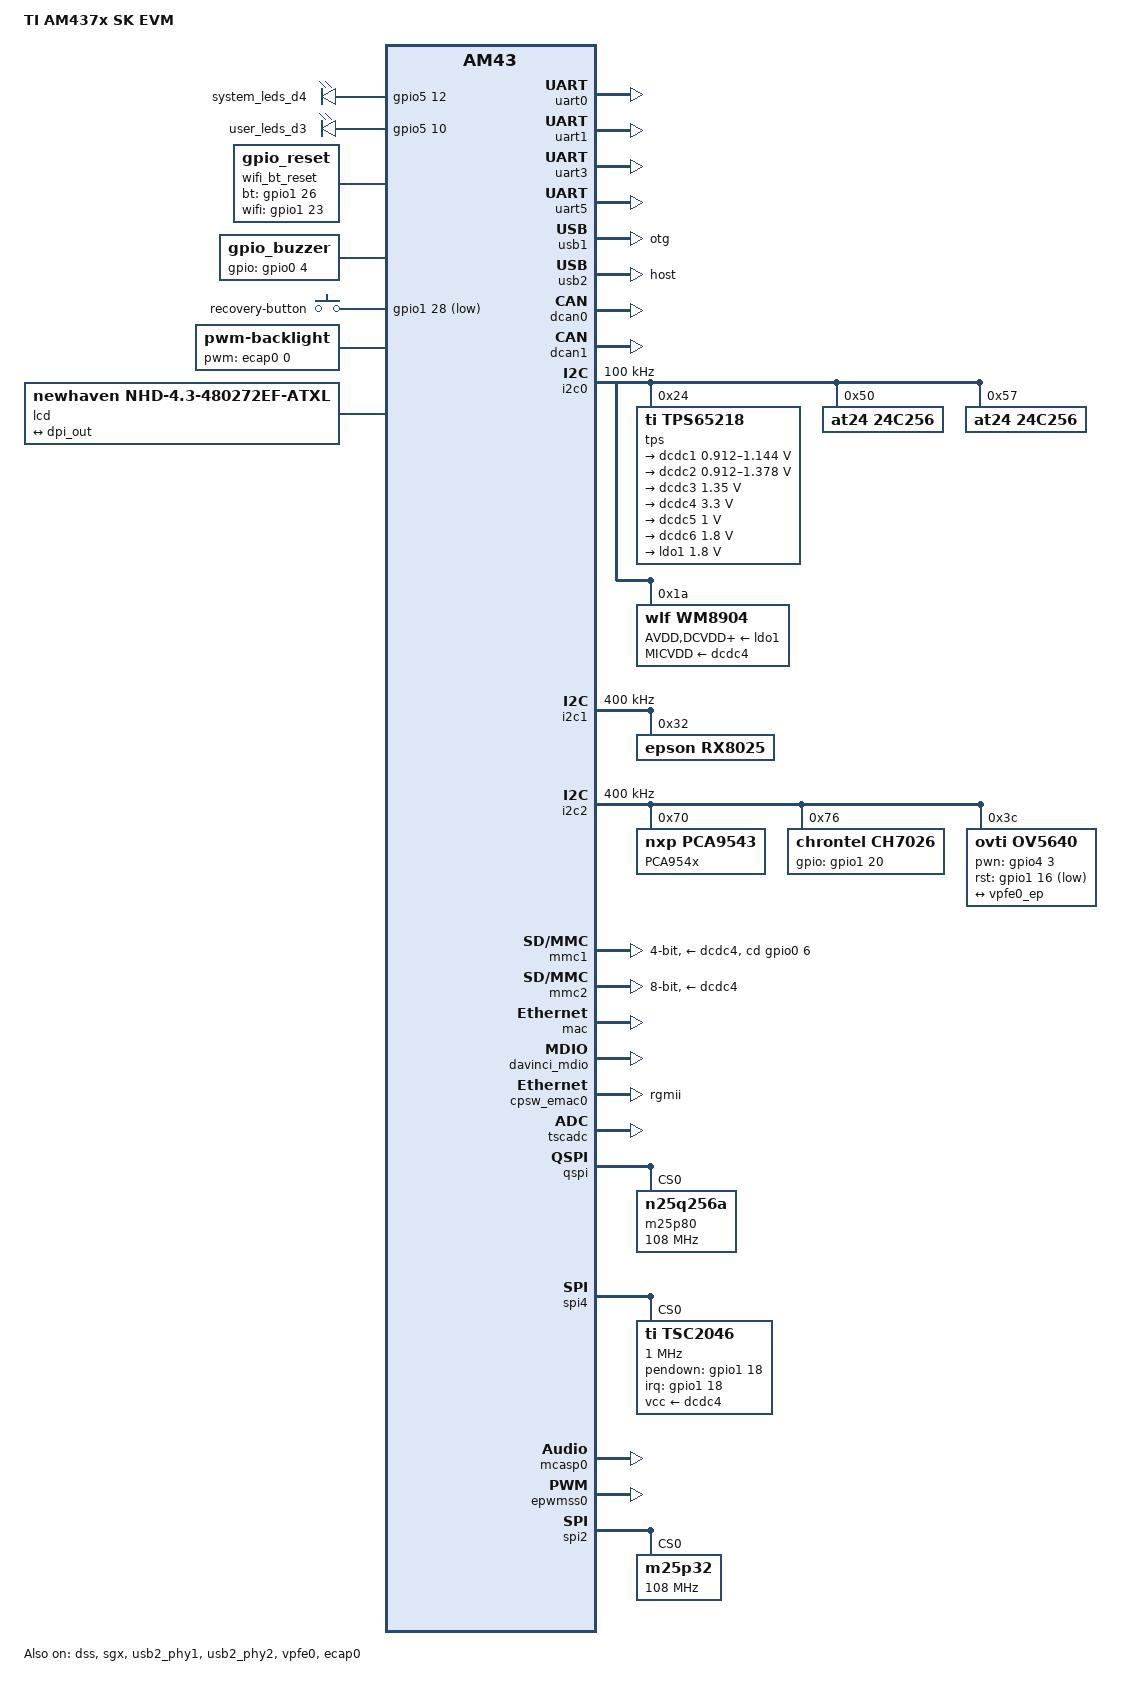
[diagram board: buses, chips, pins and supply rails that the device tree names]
/*
 * Copyright (C) 2015 Embest Technology Co., Ltd., - http://www.embest-tech.com
 *
 * This program is free software; you can redistribute it and/or modify
 * it under the terms of the GNU General Public License version 2 as
 * published by the Free Software Foundation.
 *
 * This dts is for embest own product:
 * SOM-PH8800 + BB-EPH1800
 */
/dts-v1/;

#include "am4372.dtsi"
#include <dt-bindings/pinctrl/am43xx.h>
#include <dt-bindings/pwm/pwm.h>
#include <dt-bindings/gpio/gpio.h>
#include <dt-bindings/input/input.h>

/ {
	model = "TI AM437x SK EVM";
	compatible = "ti,am437x-sk-evm","ti,am4372","ti,am43";

	aliases {
		display0 = &lcd0;
		serial1 = &uart1;
		serial3 = &uart3;
		serial5 = &uart5;
	};

	leds {
		pinctrl-names = "default";
		pinctrl-0 = <&user_leds>;

		compatible = "gpio-leds";

		led1 {
			label = "system_leds_d4";
			gpios = <&gpio5 12 GPIO_ACTIVE_HIGH>;
			linux,default-trigger = "none";
			default-state = "on";
		};

		led2 {
			label = "user_leds_d3";
			gpios = <&gpio5 10 GPIO_ACTIVE_HIGH>;
			linux,default-trigger = "none";
			default-state = "on";
		};
	};

	wifi_bt_reset{
		pinctrl-names = "default";
		pinctrl-0 = <&wifi_reset_pins>;
        
		compatible = "gpio_reset";
		bt-gpios = <&gpio1 26 GPIO_ACTIVE_HIGH>;
		wifi-gpios = <&gpio1 23 GPIO_ACTIVE_HIGH>;
	};

	/* Generic GPIO buzzer device  as misc device */
	buzzer {
		pinctrl-names = "default";
		pinctrl-0 = <&buzzer_pin>;
		compatible = "gpio_buzzer";
		gpios = <&gpio0 4 GPIO_ACTIVE_HIGH>;
	};

	gpio_keys: gpio_keys {
		compatible = "gpio-keys";
		pinctrl-names = "default";
		pinctrl-0 = <&gpio_keys_pins_default>;
		#address-cells = <1>;
		#size-cells = <0>;

		switch@0 {
			label = "recovery-button";
			linux,code = <KEY_POWER>;
			gpios = <&gpio1 28 GPIO_ACTIVE_LOW>;
		};
	};
	
	sound {
		compatible = "simple-audio-card";
		simple-audio-card,name = "AM437x-SM8800";
		simple-audio-card,widgets =
			"Headphone", "Headphone Jack",
			"Microphone", "Microphone Jack";
		simple-audio-card,routing =
			"Headphone Jack",	"HPOUTL",
			"Headphone Jack",	"HPOUTR",
			"Microphone Jack",  "MICBIAS", 
			"IN1L", "Microphone Jack";
		simple-audio-card,format = "dsp_b";
		simple-audio-card,bitclock-master = <&sound_master>;
		simple-audio-card,frame-master = <&sound_master>;
		/*simple-audio-card,bitclock-inversion;*/

		simple-audio-card,cpu {
			sound-dai = <&mcasp0>;
			system-clock-frequency = <24000000>;
			system-clock-direction = "out";
		};

		sound_master: simple-audio-card,codec {
			sound-dai = <&wm8904>;
			system-clock-frequency = <24000000>;
			system-clock-direction = "in";
		};
	};
	
	backlight {
		compatible = "pwm-backlight";

		pwms = <&ecap0 0 50000 PWM_POLARITY_INVERTED>;
		brightness-levels = <0 51 53 56 62 75 101 152 255>;
		default-brightness-level = <6>;
	};
	lcd0: display {
		compatible = "newhaven,nhd-4.3-480272ef-atxl", "panel-dpi";
		label = "lcd";

		/* If there is a enable pin in LCD sch. you need to add this!
		*pinctrl-names = "default";
		*pinctrl-0 = <&lcd_pins>;
		*
		*enable-gpios = <&gpio1 7 GPIO_ACTIVE_HIGH>; */

		panel-timing {
			/*This is the timing for HDMI&VGA*/
			/*clock-frequency = <80000000>;
			hactive = <1024>;
			vactive = <768>;
			hfront-porch = <18>;
			hback-porch = <297>;
			hsync-len = <53>;
			vfront-porch = <3>;
			vback-porch = <35>;
			vsync-len = <6>;
			hsync-active = <0>;
			vsync-active = <0>;
			de-active = <1>;
			pixelclk-active = <1>;*/

			/*This is the timing for 4.3inch_LCD && VGA ch7026 (input 480*272,output 800*600)*/
			/*clock-frequency = <9000000>;
			hactive = <480>;
			vactive = <272>;
			hfront-porch = <2>;
			hback-porch = <43>;
			hsync-len = <41>;
			vfront-porch = <2>;
			vback-porch = <12>;
			vsync-len = <10>;
			hsync-active = <0>;
			vsync-active = <0>;
			de-active = <1>;
			pixelclk-active = <1>;*/

			/*This is the timing for 7inch_LCD*/
			/*clock-frequency = <9000000>;
			hactive = <320>;
			vactive = <240>;
			hfront-porch = <64>;
			hback-porch = <10>;
			hsync-len = <16>;
			vfront-porch = <32>;
			vback-porch = <10>;
			vsync-len = <3>;
			hsync-active = <0>;
			vsync-active = <0>;
			de-active = <1>;
			pixelclk-active = <1>;*/

			/*This is the timing for VGA ch7026 (input 640*480,output 800*600)*/
			clock-frequency = <48000000>;
			hactive = <640>;
			vactive = <480>;
			hfront-porch = <20>;
			hback-porch = <80>;
			hsync-len = <41>;
			vfront-porch = <20>;
			vback-porch = <35>;
			vsync-len = <10>;
			hsync-active = <0>;
			vsync-active = <0>;
			de-active = <1>;
			pixelclk-active = <1>;

		};

		port {
			lcd_in: endpoint {
				remote-endpoint = <&dpi_out>;
			};
		};
	};	
};

&cpu {
	cpu0-supply = <&dcdc2>;
};
/* This is needed for LCD*/
&dss {
	status = "okay";

	pinctrl-names = "default";
	pinctrl-0 = <&dss_pins>;

	port {
		dpi_out: endpoint@0 {
			remote-endpoint = <&lcd_in>;
			data-lines = <24>;
		};
	};
};

/* This is needed for LCD*/
&sgx {
	status = "okay";
};
&uart0 {
	status = "okay";
	pinctrl-names = "default";
	pinctrl-0 = <&uart0_pins>;
};

&uart1 {
	status = "okay";
	pinctrl-names = "default";
	pinctrl-0 = <&uart1_pins>;
};

&uart3 {
	pinctrl-names = "default";
	pinctrl-0 = <&uart3_pins>;
	status = "okay";

	rs485-rts-active-high;
	linux,rs485-enabled-at-boot-time;
	rs485-rts-delay = <200 0>;                // in milliseconds
	rts-gpio = <&gpio5 1 GPIO_ACTIVE_HIGH>;
};

&uart5 {
	pinctrl-names = "default";
	pinctrl-0 = <&uart5_pins>;
	status = "okay";
};

&usb2_phy1 {
	status = "okay";
};

&usb1 {
	dr_mode = "otg";
	status = "okay";
	pinctrl-names = "default";
	pinctrl-0 = <&usb1_pins>;
};

&usb2_phy2 {
	status = "okay";
};

&usb2 {
	dr_mode = "host";
	status = "okay";
	pinctrl-names = "default";
	pinctrl-0 = <&usb2_pins>;
};

&dcan0 {
	pinctrl-names = "default";
	pinctrl-0 = <&can0_pins>;
	status = "okay";
};

&dcan1 {
	pinctrl-names = "default";
	pinctrl-0 = <&can1_pins>;
	status = "okay";
};

&i2c0 {
	status = "okay";
	pinctrl-names = "default";
	pinctrl-0 = <&i2c0_pins>;
	clock-frequency = <100000>;

	tps@24 {
		compatible = "ti,tps65218";
		reg = <0x24>;
		interrupts = <GIC_SPI 7 IRQ_TYPE_LEVEL_HIGH>;
		interrupt-controller;
		#interrupt-cells = <2>;

		dcdc1: regulator-dcdc1 {
			compatible = "ti,tps65218-dcdc1";
			/* VDD_CORE limits min of OPP50 and max of OPP100 */
			regulator-name = "vdd_core";
			regulator-min-microvolt = <912000>;
			regulator-max-microvolt = <1144000>;
			regulator-boot-on;
			regulator-always-on;
		};

		dcdc2: regulator-dcdc2 {
			compatible = "ti,tps65218-dcdc2";
			/* VDD_MPU limits min of OPP50 and max of OPP_NITRO */
			regulator-name = "vdd_mpu";
			regulator-min-microvolt = <912000>;
			regulator-max-microvolt = <1378000>;
			regulator-boot-on;
			regulator-always-on;
		};

		dcdc3: regulator-dcdc3 {
			compatible = "ti,tps65218-dcdc3";
			regulator-name = "vdds_ddr";
			regulator-min-microvolt = <1350000>;
			regulator-max-microvolt = <1350000>;
			regulator-boot-on;
			regulator-always-on;
			regulator-state-mem {
				regulator-on-in-suspend;
			};
			regulator-state-disk {
				regulator-off-in-suspend;
			};
		};

		dcdc4: regulator-dcdc4 {
			compatible = "ti,tps65218-dcdc4";
			regulator-name = "v3_3d";
			regulator-min-microvolt = <3300000>;
			regulator-max-microvolt = <3300000>;
			regulator-boot-on;
			regulator-always-on;
		};

		dcdc5: regulator-dcdc5 {
			compatible = "ti,tps65218-dcdc5";
			regulator-name = "v1_0bat";
			regulator-min-microvolt = <1000000>;
			regulator-max-microvolt = <1000000>;
			regulator-boot-on;
			regulator-always-on;
			regulator-state-mem {
				regulator-on-in-suspend;
			};
		};

		dcdc6: regulator-dcdc6 {
			compatible = "ti,tps65218-dcdc6";
			regulator-name = "v1_8bat";
			regulator-min-microvolt = <1800000>;
			regulator-max-microvolt = <1800000>;
			regulator-boot-on;
			regulator-always-on;
			regulator-state-mem {
				regulator-on-in-suspend;
			};
		};

		ldo1: regulator-ldo1 {
			compatible = "ti,tps65218-ldo1";
			regulator-name = "v1_8d";
			regulator-min-microvolt = <1800000>;
			regulator-max-microvolt = <1800000>;
			regulator-boot-on;
			regulator-always-on;
		};

		power-button {
			compatible = "ti,tps65218-pwrbutton";
			status = "okay";
			interrupts = <3 IRQ_TYPE_EDGE_BOTH>;
		};
	};

	at24@50 {
		compatible = "at24,24c256";
		pagesize = <64>;
		reg = <0x50>;
	};

	at24@57 {
		compatible = "at24,24c256";
		pagesize = <64>;
		reg = <0x57>;
	};

	wm8904: wm8904@1a {
		#sound-dai-cells = <0>;
		compatible = "wlf,wm8904";
		reg = <0x1a>;
		status = "okay";

		/* Regulators */
		AVDD-supply = <&ldo1>;
		DCVDD-supply = <&ldo1>;
		DBVDD-supply = <&ldo1>;
		CPVDD-supply = <&ldo1>;
		MICVDD-supply = <&dcdc4>;
	};
};

&i2c1 {
	status = "okay";
	pinctrl-names = "default";
	pinctrl-0 = <&i2c1_pins>;
	clock-frequency = <400000>;

	rx8025: rx8025@32 {
		compatible = "epson,rx8025";
		reg = <0x32>;
		status = "okay";
	};


};

&i2c2 {
	status = "okay";
	pinctrl-names = "default";
	pinctrl-0 = <&i2c2_pins>;
	clock-frequency = <400000>;

	PCA954x: PCA954x@70{
		compatible = "nxp,pca9543";
		#address-cells = <1>;
		#size-cells = <0>;
		
		reg = <0x70>;
		status = "okay";		

	};

	ch7026@76 {
		compatible = "chrontel,ch7026";
		pinctrl-names = "default";
		pinctrl-0 = <&ch7620_reset_pin>;		
		gpios = <&gpio1 20 GPIO_ACTIVE_HIGH>;
		reg = <0x76>;
		status = "okay";
	};

	ov5640@3c {
		compatible = "ovti,ov5640";
		reg = <0x3c>;
		pinctrl-names = "default";
		pinctrl-0 = <&clkout2_pin>;

		clocks = <&clkout2_ck>;
		clock-names = "mclk";
		assigned-clocks = <&clkout2_mux_ck>, <&clkout2_post_div_ck>;
		assigned-clock-parents = <&sysclk_div>;
		assigned-clock-rates = <0>, <12500000>;

		pwn = <&gpio4 3 GPIO_ACTIVE_HIGH>;
		/*rst = <&gpio1 22 GPIO_ACTIVE_LOW>;*/
		/*rst = <&gpio0 19 GPIO_ACTIVE_LOW>;*/
		rst = <&gpio1 16 GPIO_ACTIVE_LOW>;
		port {
			ov5640_1: endpoint {
				remote-endpoint = <&vpfe0_ep>;
				link-frequencies = /bits/ 64 <70000000>;
			};
		};
	};	

};
&vpfe0 {
	status = "okay";
	pinctrl-names = "default", "sleep";
	pinctrl-0 = <&vpfe0_pins_default>;
	pinctrl-1 = <&vpfe0_pins_sleep>;

	port {
		vpfe0_ep: endpoint {
			remote-endpoint = <&ov5640_1>;
			ti,am437x-vpfe-interface = <0>;
			bus-width = <8>;
			hsync-active = <0>;
			vsync-active = <0>;
		};
	};	
};

&mmc1 {
	status = "okay";
	pinctrl-names = "default", "sleep";
	pinctrl-0 = <&mmc1_pins>;
	pinctrl-1 = <&mmc1_pins_sleep>;

	vmmc-supply = <&dcdc4>;
	bus-width = <4>;
	cd-gpios = <&gpio0 6 GPIO_ACTIVE_HIGH>;
};

/* eMMC sits on mmc2 */
&mmc2
{
	/*
	* When enabling eMMC, disable GPMC/NAND and set
	* SelEMMCorNAND to output-high
	*/
	status = "okay";
	vmmc-supply = <&dcdc4>;
	bus-width = <8>;
	pinctrl-names = "default", "sleep";
	pinctrl-0 = <&emmc_pins_default>;
	pinctrl-1 = <&emmc_pins_sleep>;
	ti,non-removable;
};

&gpio0 {
	status = "okay";
};
	
&gpio1 {
	status = "okay";
};
&gpio2 {
	status = "okay";
};

&gpio3 {
	status = "okay";
};
&gpio4 {
	status = "okay";
};

/* This is needed for LED according to LED pins */
&gpio5 {
	status = "okay";
};

&rtc {
	status = "disabled";
	ext-clk-src;
};

&mac {
	pinctrl-names = "default", "sleep";
	pinctrl-0 = <&cpsw_default>;
	dual_emac = <1>;
	status = "okay";
};

&davinci_mdio {
	pinctrl-names = "default", "sleep";
	pinctrl-0 = <&davinci_mdio_default>;
	status = "okay";
};

&cpsw_emac0 {
	phy_id = <&davinci_mdio>, <7>;
	phy-mode = "rgmii";
	dual_emac_res_vlan = <1>;
};

&tscadc {
	status = "okay";

	adc {
		ti,adc-channels = <0 1 2 3 4 5 6 7>;
		ti,chan-step-opendelay = <0x98 0x98 0x98 0x98 0x098 0x98 0x098 0x0>;
		ti,chan-step-sampledelay = <0x0f 0x0f 0x0f 0x0f 0x0f 0x0 0xf 0x0>;
		ti,chan-step-avg = <8 8 8 8 8 2 4 8>;
	};
};

&qspi {
	pinctrl-names = "default";
	pinctrl-0 = <&qspi_pins>;
	spi-max-frequency = <108000000>;
	status = "okay";

	m25p80@0 {
		compatible = "n25q256a";
		spi-max-frequency = <108000000>;
		reg = <0>;
		spi-cpol;
		spi-cpha;
		spi-tx-bus-width = <1>;
		spi-rx-bus-width = <1>;
		#address-cells = <1>;
		#size-cells = <1>;
	};
};

&spi4 {
	pinctrl-names = "default";
	pinctrl-0 = <&spi4_pins>;
	ti,pindir-d0-out-d1-in = <1>;
	status = "okay";

	tsc2046: tsc2046@0 {
		pinctrl-names = "default";
		pinctrl-0 = <&tsc2046_irq_pins>;	
		spi-max-frequency = <1000000>;
		reg = <0>; 
		compatible = "ti,tsc2046";
		interrupt-parent = <&gpio1>;
		interrupts = <18 0>;
		pendown-gpio = <&gpio1 18 0>;
		
		ti,x-min = /bits/ 16 <0>;
		ti,x-max = /bits/ 16 <8000>;
		ti,y-min = /bits/ 16 <0>;
		ti,y-max = /bits/ 16 <4800>;
		ti,x-plate-ohms = /bits/ 16 <40>;
		ti,pressure-max = /bits/ 16 <255>;
		
		vcc-supply = <&dcdc4>;
	};
};

&mcasp0 {
	#sound-dai-cells = <0>;
	pinctrl-names = "default";
	pinctrl-0 = <&mcasp0_pins>;
	status = "okay";
	op-mode = <0>;
	tdm-slots = <2>;
    
	serial-dir = <
		1 0  2 0
	>;

	tx-num-evt = <1>;
	rx-num-evt = <1>;
};

/* This is needed for backlight */
&epwmss0 {
	status = "okay";
};

/* This is needed for backlight */
&ecap0 {
	status = "okay";
	pinctrl-names = "default";
	pinctrl-0 = <&ecap0_pins>;
};

&spi2 {
	pinctrl-names = "default";
	pinctrl-0 = <&spi2_pins>;
	ti,pindir-d0-out-d1-in = <1>;
	status = "okay";

	m25p32@0 {
		compatible = "m25p32";
		spi-max-frequency = <108000000>;
		reg = <0>;
		spi-cpol;
		spi-cpha;
		spi-tx-bus-width = <1>;
		spi-rx-bus-width = <1>;
		#address-cells = <1>;
		#size-cells = <1>;
	};
};

&am43xx_pinmux {
	/* UART0 pins: rxd & txd */
	uart0_pins: pinmux_uart0_pins {
		pinctrl-single,pins = <
			0x170 (PIN_INPUT_PULLUP | MUX_MODE0)	/* uart0_rxd.uart0_rxd */
			0x174 (PIN_OUTPUT_PULLDOWN | MUX_MODE0)	/* uart0_txd.uart0_txd */
		>;
	};
	
	/* UART1 pins: rxd & txd */
	uart1_pins: pinmux_uart1_pins {
		pinctrl-single,pins = <
			0x180 (PIN_INPUT_PULLUP | MUX_MODE0)	/* uart1_rxd.uart1_rxd */
			0x184 (PIN_OUTPUT_PULLDOWN | MUX_MODE0)	/* uart1_txd.uart1_txd */
		>;
	};

	/* UART3 pins: rxd & txd */
	uart3_pins: pinmux_uart3_pins {
		pinctrl-single,pins = <
			0x228 (PIN_INPUT_PULLUP | MUX_MODE0)	/* uart3_rxd.uart3_rxd */
			0x22c (PIN_OUTPUT_PULLDOWN | MUX_MODE0)	/* uart3_txd.uart3_txd */
			0x234 (PIN_OUTPUT_PULLDOWN | MUX_MODE7)	/* uart3_rts.gpio5_1   */
		>;
	};

	/* UART5 pins: rxd & txd */
	uart5_pins: pinmux_uart5_pins {
		pinctrl-single,pins = <
			0x108 (PIN_INPUT_PULLUP | MUX_MODE3)	/* mii1_col.uart5_rxd */
			0x144 (PIN_OUTPUT_PULLDOWN | MUX_MODE3)	/* rmii1_refclk.uart5_txd */
			0x10c (PIN_OUTPUT_PULLDOWN | MUX_MODE5)	/* ctsn */
			0x110 (PIN_OUTPUT_PULLDOWN | MUX_MODE5) /* rtsn */
		>;
	};

	usb1_pins: usb1_pins {
		pinctrl-single,pins = <
			0x2c0 (PIN_OUTPUT | MUX_MODE0) /* usb0_drvvbus.usb0_drvvbus */
		>;
	};

	usb2_pins: usb2_pins {
		pinctrl-single,pins = <
			0x2c4 (PIN_OUTPUT | MUX_MODE0) /* usb1_drvvbus.usb1_drvvbus */
		>;
	};	

	/* CAN0 pins: rxd & txd */
	can0_pins: pinmux_can0_pins {
		pinctrl-single,pins = <
			0x17C (PIN_INPUT_PULLUP | MUX_MODE2)	/* uart1_rtsn.can0_rxd */
			0x178 (PIN_OUTPUT_PULLDOWN | MUX_MODE2)	/* uart1_ctsn.can0_txd */
		>;
	};
    
	/* CAN1 pins: rxd & txd */
	can1_pins: pinmux_can1_pins {
		pinctrl-single,pins = <
			0x16C (PIN_INPUT_PULLUP | MUX_MODE2)	/* uart0_rtsn.can1_rxd */
			0x168 (PIN_OUTPUT_PULLDOWN | MUX_MODE2)	/* uart0_ctsn.can1_txd */
		>;
	};
	
	/* I2C0 pins: sda & scl */
	i2c0_pins: i2c0_pins {
		pinctrl-single,pins = <
			0x188 (PIN_INPUT | SLEWCTRL_FAST | MUX_MODE0)  /* i2c0_sda.i2c0_sda */
			0x18c (PIN_INPUT | SLEWCTRL_FAST | MUX_MODE0)  /* i2c0_scl.i2c0_scl */
		>;
	};

	/* I2C2 pins: sda & scl */
	i2c2_pins: i2c2_pins {
		pinctrl-single,pins = <
			0x154 (PIN_INPUT | SLEWCTRL_FAST | MUX_MODE2)  /* i2c0_sda.i2c0_sda */
			0x150 (PIN_INPUT | SLEWCTRL_FAST | MUX_MODE2)  /* i2c0_scl.i2c0_scl */
		>;
	};
	
	/* MMC1 pins:  data0 - data3; clk; cmd; detect pin */
	mmc1_pins: pinmux_mmc1_pins {
		pinctrl-single,pins = <
			0x0f0 (PIN_INPUT | MUX_MODE0) /* mmc0_dat3.mmc0_dat3 */
			0x0f4 (PIN_INPUT | MUX_MODE0) /* mmc0_dat2.mmc0_dat2 */
			0x0f8 (PIN_INPUT | MUX_MODE0) /* mmc0_dat1.mmc0_dat1 */
			0x0fc (PIN_INPUT | MUX_MODE0) /* mmc0_dat0.mmc0_dat0 */
			0x100 (PIN_INPUT | MUX_MODE0) /* mmc0_clk.mmc0_clk */
			0x104 (PIN_INPUT | MUX_MODE0) /* mmc0_cmd.mmc0_cmd */
			0x160 (PIN_INPUT | MUX_MODE7) /* spi0_cs1.gpio0_6 */
		>;
	};

	/* MMC1 pins:  data0 - data3; clk; cmd; detect pin */
	mmc1_pins_sleep: pinmux_mmc1_pins_sleep {
		pinctrl-single,pins = <
			0x0F0 (PIN_INPUT_PULLDOWN | MUX_MODE7)
			0x0F4 (PIN_INPUT_PULLDOWN | MUX_MODE7)
			0x0F8 (PIN_INPUT_PULLDOWN | MUX_MODE7)
			0x0FC (PIN_INPUT_PULLDOWN | MUX_MODE7)
			0x100 (PIN_INPUT_PULLDOWN | MUX_MODE7)
			0x104 (PIN_INPUT_PULLDOWN | MUX_MODE7)
			0x1A0 (PIN_INPUT_PULLDOWN | MUX_MODE7)
			0x160 (PIN_INPUT_PULLDOWN | MUX_MODE7)
		>;
	};

	/* eMMC pins:  data0 - data7; clk; cmd;  */
	emmc_pins_default: emmc_pins_default {
		pinctrl-single,pins = <
			0x00 (PIN_INPUT_PULLUP | MUX_MODE1) /* gpmc_ad0.mmc1_dat0 */
			0x04 (PIN_INPUT_PULLUP | MUX_MODE1) /* gpmc_ad1.mmc1_dat1 */
			0x08 (PIN_INPUT_PULLUP | MUX_MODE1) /* gpmc_ad2.mmc1_dat2 */
			0x0c (PIN_INPUT_PULLUP | MUX_MODE1) /* gpmc_ad3.mmc1_dat3 */
			0x10 (PIN_INPUT_PULLUP | MUX_MODE1) /* gpmc_ad4.mmc1_dat4 */
			0x14 (PIN_INPUT_PULLUP | MUX_MODE1) /* gpmc_ad5.mmc1_dat5 */
			0x18 (PIN_INPUT_PULLUP | MUX_MODE1) /* gpmc_ad6.mmc1_dat6 */
			0x1c (PIN_INPUT_PULLUP | MUX_MODE1) /* gpmc_ad7.mmc1_dat7 */
			0x80 (PIN_INPUT_PULLUP | MUX_MODE2) /* gpmc_csn1.mmc1_clk */
			0x84 (PIN_INPUT_PULLUP | MUX_MODE2) /* gpmc_csn2.mmc1_cmd */
		>;
	};

	emmc_pins_sleep: emmc_pins_sleep {
		pinctrl-single,pins = <
			0x00 (PIN_INPUT_PULLDOWN | MUX_MODE7) /* gpmc_ad0.gpio1_0 */
			0x04 (PIN_INPUT_PULLDOWN | MUX_MODE7) /* gpmc_ad1.gpio1_1 */
			0x08 (PIN_INPUT_PULLDOWN | MUX_MODE7) /* gpmc_ad2.gpio1_2 */
			0x0c (PIN_INPUT_PULLDOWN | MUX_MODE7) /* gpmc_ad3.gpio1_3 */
			0x10 (PIN_INPUT_PULLDOWN | MUX_MODE7) /* gpmc_ad4.gpio1_4 */
			0x14 (PIN_INPUT_PULLDOWN | MUX_MODE7) /* gpmc_ad5.gpio1_5 */
			0x18 (PIN_INPUT_PULLDOWN | MUX_MODE7) /* gpmc_ad6.gpio1_6 */
			0x1c (PIN_INPUT_PULLDOWN | MUX_MODE7) /* gpmc_ad7.gpio1_7 */
			0x80 (PIN_INPUT_PULLDOWN | MUX_MODE7) /* gpmc_csn1.gpio1_30 */
			0x84 (PIN_INPUT_PULLDOWN | MUX_MODE7) /* gpmc_csn2.gpio1_31 */
		>;
	};

	user_leds: user_leds {
		pinctrl-single,pins = <
			0x240 (PIN_OUTPUT | MUX_MODE7)	/* gpmc_csn3.gpio5_10 */			
			0x248 (PIN_OUTPUT | MUX_MODE7)	/* gpmc_ben1.gpio5_12 */
		>;
	};

	buzzer_pin: buzzer_pin {
		pinctrl-single,pins = <
			0x08c (PIN_OUTPUT | MUX_MODE9)	/* gpmc_clk.gpio0_4 */
		>;
	};

	ch7620_reset_pin:ch7620_reset_pin {
		pinctrl-single,pins = <
			0x050 (PIN_OUTPUT | MUX_MODE7) 
		>;
	};
	gpio_keys_pins_default: gpio_keys_pins_default {
		pinctrl-single,pins = <
			0x078 (PIN_INPUT | MUX_MODE7)	/*gpmc_be1n.gpio1_28 */
		>;
	};
	
	cpsw_default: cpsw_default {
		pinctrl-single,pins = <
			/* Slave 1 */
			0x12c (PIN_OUTPUT | MUX_MODE2)	/* mii1_txclk.rmii1_tclk */
			0x114 (PIN_OUTPUT | MUX_MODE2)	/* mii1_txen.rgmii1_tctl */
			0x128 (PIN_OUTPUT | MUX_MODE2)	/* mii1_txd0.rgmii1_td0 */
			0x124 (PIN_OUTPUT | MUX_MODE2)	/* mii1_txd1.rgmii1_td1 */
			0x120 (PIN_OUTPUT | MUX_MODE2)	/* mii1_txd0.rgmii1_td2 */
			0x11c (PIN_OUTPUT | MUX_MODE2)	/* mii1_txd1.rgmii1_td3 */
			0x130 (PIN_INPUT | MUX_MODE2)	/* mii1_rxclk.rmii1_rclk */
			0x118 (PIN_INPUT | MUX_MODE2)	/* mii1_rxdv.rgmii1_rctl */
			0x140 (PIN_INPUT | MUX_MODE2)	/* mii1_rxd0.rgmii1_rd0 */
			0x13c (PIN_INPUT | MUX_MODE2)	/* mii1_rxd1.rgmii1_rd1 */
			0x138 (PIN_INPUT | MUX_MODE2)	/* mii1_rxd0.rgmii1_rd2 */
			0x134 (PIN_INPUT | MUX_MODE2)	/* mii1_rxd1.rgmii1_rd3 */

			/* Slave 2 */
			0x58 (PIN_OUTPUT | MUX_MODE2)	/* gpmc_a6.rgmii2_tclk */
			0x40 (PIN_OUTPUT | MUX_MODE2)	/* gpmc_a0.rgmii2_tctl */
			0x54 (PIN_OUTPUT | MUX_MODE2)	/* gpmc_a5.rgmii2_td0 */
			0x50 (PIN_OUTPUT | MUX_MODE2)	/* gpmc_a4.rgmii2_td1 */
			0x4c (PIN_OUTPUT | MUX_MODE2)	/* gpmc_a3.rgmii2_td2 */
			0x48 (PIN_OUTPUT | MUX_MODE2)	/* gpmc_a2.rgmii2_td3 */
			0x5c (PIN_INPUT | MUX_MODE2)	/* gpmc_a7.rgmii2_rclk */
			0x44 (PIN_INPUT | MUX_MODE2)	/* gpmc_a1.rgmii2_rtcl */
			0x6c (PIN_INPUT | MUX_MODE2)	/* gpmc_a11.rgmii2_rd0 */
			0x68 (PIN_INPUT | MUX_MODE2)	/* gpmc_a10.rgmii2_rd1 */
			0x64 (PIN_INPUT | MUX_MODE2)	/* gpmc_a9.rgmii2_rd2 */
			0x60 (PIN_INPUT | MUX_MODE2)	/* gpmc_a8.rgmii2_rd3 */
		>;
	};
	
	davinci_mdio_default: davinci_mdio_default {
		pinctrl-single,pins = <
			/* MDIO */
			0x148 (PIN_INPUT | SLEWCTRL_FAST | MUX_MODE0)	/* mdio_data.mdio_data */
			0x14c (PIN_OUTPUT | MUX_MODE0)			/* mdio_clk.mdio_clk */
		>;
	};
	
	/* I2C1 pins: sda & scl */
	i2c1_pins: i2c1_pins {
		pinctrl-single,pins = <
			0x15c (PIN_INPUT_PULLDOWN | SLEWCTRL_FAST | MUX_MODE2)  /* spi0_cs0.i2c1_scl */
			0x158 (PIN_INPUT_PULLDOWN | SLEWCTRL_FAST | MUX_MODE2)  /* spi0_d1.i2c1_sda  */
		>;
	};
	
	spi4_pins: pinmux_spi4_pins {
		pinctrl-single,pins = <
			0x250 (PIN_INPUT_PULLUP | MUX_MODE0)  /* spi4_sclk.spi4_sclk */
			0x254 (PIN_OUTPUT_PULLUP | MUX_MODE0) /* spi4_d0.spi4_d0 */
			0x258 (PIN_INPUT_PULLUP | MUX_MODE0)  /* spi4_d1.spi4_d1 */
			0x25C (PIN_OUTPUT_PULLUP | MUX_MODE0) /* spi4_cs0.spi4_cs0 */
		>;
	};

	qspi_pins: pinmux_qspi_pins {
		pinctrl-single,pins = <
			0x7c (PIN_OUTPUT | MUX_MODE3)   /* gpmc_csn0.qspi_csn */
			0x88 (PIN_OUTPUT | MUX_MODE2)   /* gpmc_csn3.qspi_clk */
			0x90 (PIN_INPUT | MUX_MODE3)    /* gpmc_advn_ale.qspi_d0 */
			0x94 (PIN_INPUT | MUX_MODE3)    /* gpmc_oen_ren.qspi_d1 */
			0x98 (PIN_INPUT | MUX_MODE3)    /* gpmc_wen.qspi_d2 */
			0x9c (PIN_INPUT | MUX_MODE3)    /* gpmc_be0n_cle.qspi_d3 */
		>;
	};
	
	tsc2046_irq_pins: tsc2046_irq_pins{
		pinctrl-single,pins = <
			0x48 (PIN_INPUT | MUX_MODE7)	    /* gpmc_a2.gpio1_18 */
		>;
	};
	
	mcasp0_pins: mcasp0_pins {
		pinctrl-single,pins = <
			0x270 (PIN_OUTPUT_PULLDOWN | MUX_MODE3) /* xdma_event_intr0.clkout1 */
			0x194 (PIN_INPUT_PULLDOWN | MUX_MODE0)	/* mcasp0_fsx.mcasp0_fsx */
			0x198 (PIN_OUTPUT_PULLDOWN | MUX_MODE0)	/* mcasp0_axr0.mcasp0_axr0 */
			0x19c (PIN_INPUT_PULLDOWN | MUX_MODE2)	/* mcasp0_ahclkr.mcasp0_axr2  */
			0x190 (PIN_INPUT_PULLDOWN | MUX_MODE0)	/* mcasp0_aclkx.mcasp0_aclkx */
		>;
	};
	
	ecap0_pins: backlight_pins {
		pinctrl-single,pins = <
			0x164 (PIN_OUTPUT | MUX_MODE0) /* eCAP0_in_PWM0_out.eCAP0_in_PWM0_out */
		>;
	};
	
	spi2_pins: pinmux_spi2_pins {
		pinctrl-single,pins = <
			0x260 (PIN_INPUT_PULLUP | MUX_MODE0) /* spi2_sclk.spi2_sclk */
			0x264 (PIN_OUTPUT_PULLUP | MUX_MODE0) /* spi2_d0.spi2_d0 */
			0x268 (PIN_INPUT_PULLUP | MUX_MODE0) /* spi2_d1.spi2_d1 */
			0x26C (PIN_OUTPUT_PULLUP | MUX_MODE0) /* spi2_cs0.spi2_cs0 */
		>;
	};
	dss_pins: dss_pins {
		pinctrl-single,pins = <
			0x020 (PIN_OUTPUT | MUX_MODE1)	/* gpmc ad 8 -> DSS DATA 23 */
			0x024 (PIN_OUTPUT | MUX_MODE1)
			0x028 (PIN_OUTPUT | MUX_MODE1)
			0x02c (PIN_OUTPUT | MUX_MODE1)
			0x030 (PIN_OUTPUT | MUX_MODE1)
			0x034 (PIN_OUTPUT | MUX_MODE1)
			0x038 (PIN_OUTPUT | MUX_MODE1)
			0x03c (PIN_OUTPUT | MUX_MODE1)	/* gpmc ad 15 -> DSS DATA 16 */
			0x0a0 (PIN_OUTPUT | MUX_MODE0)	/* DSS DATA 0 */
			0x0a4 (PIN_OUTPUT | MUX_MODE0)
			0x0a8 (PIN_OUTPUT | MUX_MODE0)
			0x0ac (PIN_OUTPUT | MUX_MODE0)
			0x0b0 (PIN_OUTPUT | MUX_MODE0)
			0x0b4 (PIN_OUTPUT | MUX_MODE0)
			0x0b8 (PIN_OUTPUT | MUX_MODE0)
			0x0bc (PIN_OUTPUT | MUX_MODE0)
			0x0c0 (PIN_OUTPUT | MUX_MODE0)
			0x0c4 (PIN_OUTPUT | MUX_MODE0)
			0x0c8 (PIN_OUTPUT | MUX_MODE0)
			0x0cc (PIN_OUTPUT | MUX_MODE0)
			0x0d0 (PIN_OUTPUT | MUX_MODE0)
			0x0d4 (PIN_OUTPUT | MUX_MODE0)
			0x0d8 (PIN_OUTPUT | MUX_MODE0)
			0x0dc (PIN_OUTPUT | MUX_MODE0)	/* DSS DATA 15 */
			0x0e0 (PIN_OUTPUT | MUX_MODE0)	/* DSS VSYNC */
			0x0e4 (PIN_OUTPUT | MUX_MODE0)	/* DSS HSYNC */
			0x0e8 (PIN_OUTPUT | MUX_MODE0)	/* DSS PCLK */
			0x0ec (PIN_OUTPUT | MUX_MODE0)	/* DSS AC BIAS EN */

		>;
	};
	
		
	vpfe0_pins_default: vpfe0_pins_default {
		pinctrl-single,pins = <
			0x1B0 (PIN_INPUT_PULLUP | MUX_MODE0)  /* cam0_hd mode 0*/
			0x1B4 (PIN_INPUT_PULLUP | MUX_MODE0)  /* cam0_vd mode 0*/
			0x1C0 (PIN_INPUT_PULLUP | MUX_MODE0)  /* cam0_pclk mode 0*/
			0x1C4 (PIN_INPUT_PULLUP | MUX_MODE0)  /* cam0_data8 mode 0*/
			0x1C8 (PIN_INPUT_PULLUP | MUX_MODE0)  /* cam0_data9 mode 0*/
			0x208 (PIN_INPUT_PULLUP | MUX_MODE0)  /* cam0_data0 mode 0*/
			0x20C (PIN_INPUT_PULLUP | MUX_MODE0)  /* cam0_data1 mode 0*/
			0x210 (PIN_INPUT_PULLUP | MUX_MODE0)  /* cam0_data2 mode 0*/
			0x214 (PIN_INPUT_PULLUP | MUX_MODE0)  /* cam0_data3 mode 0*/
			0x218 (PIN_INPUT_PULLUP | MUX_MODE0)  /* cam0_data4 mode 0*/
			0x21C (PIN_INPUT_PULLUP | MUX_MODE0)  /* cam0_data5 mode 0*/
			0x220 (PIN_INPUT_PULLUP | MUX_MODE0)  /* cam0_data6 mode 0*/
			0x224 (PIN_INPUT_PULLUP | MUX_MODE0)  /* cam0_data7 mode 0*/
		>;
	};

	vpfe0_pins_sleep: vpfe0_pins_sleep {
		pinctrl-single,pins = <
			0x1B0 (DS0_PULL_UP_DOWN_EN | INPUT_EN | MUX_MODE7)  /* cam0_hd mode 0*/
			0x1B4 (DS0_PULL_UP_DOWN_EN | INPUT_EN | MUX_MODE7)  /* cam0_vd mode 0*/
			0x1C0 (DS0_PULL_UP_DOWN_EN | INPUT_EN | MUX_MODE7)  /* cam0_pclk mode 0*/
			0x1C4 (DS0_PULL_UP_DOWN_EN | INPUT_EN | MUX_MODE7)  /* cam0_data8 mode 0*/
			0x1C8 (DS0_PULL_UP_DOWN_EN | INPUT_EN | MUX_MODE7)  /* cam0_data9 mode 0*/
			0x208 (DS0_PULL_UP_DOWN_EN | INPUT_EN | MUX_MODE7)  /* cam0_data0 mode 0*/
			0x20C (DS0_PULL_UP_DOWN_EN | INPUT_EN | MUX_MODE7)  /* cam0_data1 mode 0*/
			0x210 (DS0_PULL_UP_DOWN_EN | INPUT_EN | MUX_MODE7)  /* cam0_data2 mode 0*/
			0x214 (DS0_PULL_UP_DOWN_EN | INPUT_EN | MUX_MODE7)  /* cam0_data3 mode 0*/
			0x218 (DS0_PULL_UP_DOWN_EN | INPUT_EN | MUX_MODE7)  /* cam0_data4 mode 0*/
			0x21C (DS0_PULL_UP_DOWN_EN | INPUT_EN | MUX_MODE7)  /* cam0_data5 mode 0*/
			0x220 (DS0_PULL_UP_DOWN_EN | INPUT_EN | MUX_MODE7)  /* cam0_data6 mode 0*/
			0x224 (DS0_PULL_UP_DOWN_EN | INPUT_EN | MUX_MODE7)  /* cam0_data7 mode 0*/
		>;
	};

	clkout2_pin: pinmux_clkout2_pin {
		pinctrl-single,pins = <
			0x274 (PIN_OUTPUT_PULLDOWN | MUX_MODE3)	/* XDMA_EVENT_INTR1/CLKOUT2 */
			0x1bc (PIN_OUTPUT_PULLDOWN | MUX_MODE7)	/* pwn.gpio4_3 */
			0x040 (PIN_OUTPUT_PULLDOWN | MUX_MODE7)	/* rst gpio1_16 */
		>;	
	};

	wifi_reset_pins: wifi_reset_pins{
		pinctrl-single,pins = <
			0x5c (PIN_OUTPUT_PULLUP | MUX_MODE7)		/*  WL_EN gpmc_a7.gpio1_23*/
			0x068 (PIN_OUTPUT_PULLDOWN | MUX_MODE7)	        /*  BT_EN gpmc_a10.gpio1_26*/
		>;
	};
};
